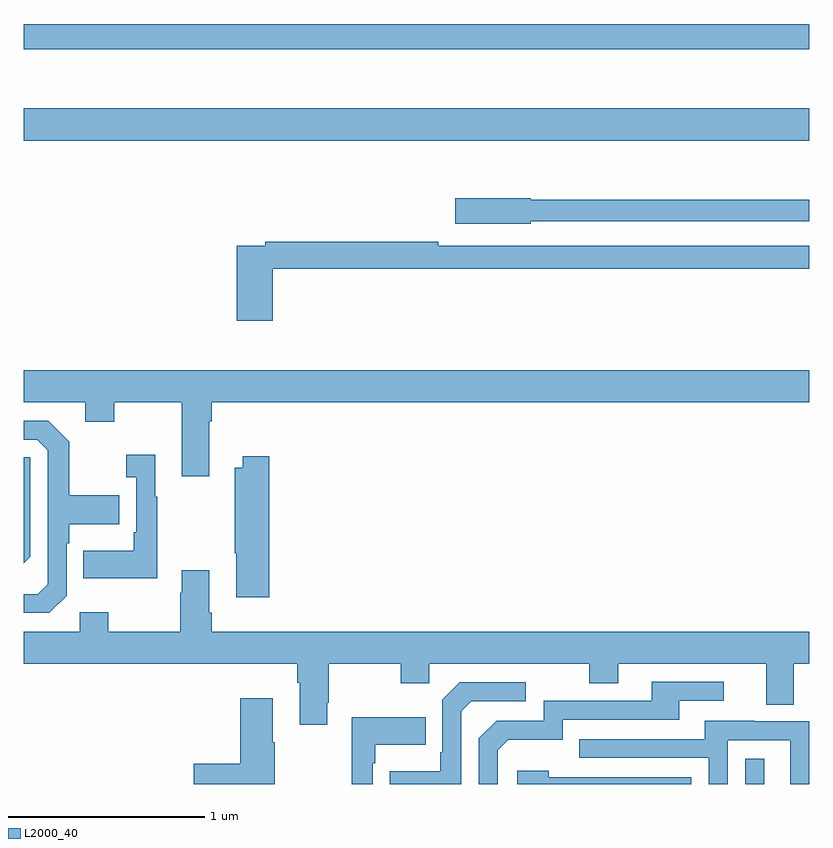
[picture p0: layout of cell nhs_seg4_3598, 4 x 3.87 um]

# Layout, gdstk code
import gdstk
lib = gdstk.Library(unit=1e-6, precision=1e-09)
def R(c, l, rs):  # rectangles x0, y0, x1, y1
    for r in rs: c.add(gdstk.rectangle(r[:2], r[2:], *l))
def P(c, l, *ps):  # polygons
    for p in ps: c.add(gdstk.Polygon(p, *l))
L2000_40 = (2000, 40)

nhs_seg4_3598 = lib.new_cell('nhs_seg4_3598')
R(nhs_seg4_3598, L2000_40, [(304.674,770.9,304.771,771.028), (301,774.176,305,774.34), (301,774.642,305,774.77)])
P(nhs_seg4_3598, L2000_40, [(303.582,773.766),(305,773.766),(305,773.875),(303.582,773.875),(303.582,773.883),(303.198,773.883),(303.198,773.753),(303.582,773.753)],
  [(302.267,773.524),(305,773.524),(305,773.64),(303.11,773.64),(303.11,773.66),(302.23,773.66),(302.23,773.64),(302.084,773.64),(302.084,773.259),(302.267,773.259)],
  [(301.945,772.748),(301.958,772.748),(301.958,772.844),(305,772.844),(305,773.008),(301,773.008),(301,772.844),(301.313,772.844),(301.313,772.745),(301.461,772.745),(301.461,772.844),(301.805,772.844),(301.805,772.467),(301.945,772.467)],
  [(301.218,771.858),(301.218,772.127),(301.231,772.127),(301.231,772.223),(301.487,772.223),(301.487,772.371),(301.231,772.371),(301.231,772.643),(301.125,772.749),(301,772.749),(301,772.653),(301.068,772.653),(301.122,772.599),(301.122,771.918),(301.071,771.867),(301,771.867),(301,771.771),(301.131,771.771)],
  [(301.681,772.363),(301.669,772.363),(301.669,772.576),(301.521,772.576),(301.521,772.463),(301.572,772.463),(301.572,772.183),(301.56,772.183),(301.56,772.087),(301.303,772.087),(301.303,771.947),(301.681,771.947)],
  [(302.249,772.57),(302.114,772.57),(302.114,772.51),(302.074,772.51),(302.074,772.075),(302.081,772.075),(302.081,771.852),(302.249,771.852)],
  [(301.032,772.056),(301.032,772.563),(301,772.563),(301,772.024)],
  [(302.545,771.313),(302.553,771.313),(302.553,771.512),(302.92,771.512),(302.92,771.413),(303.066,771.413),(303.066,771.512),(303.88,771.512),(303.88,771.413),(304.027,771.413),(304.027,771.512),(304.781,771.512),(304.781,771.304),(304.921,771.304),(304.921,771.512),(305,771.512),(305,771.676),(301.958,771.676),(301.958,771.772),(301.945,771.772),(301.945,771.988),(301.805,771.988),(301.805,771.875),(301.798,771.875),(301.798,771.676),(301.431,771.676),(301.431,771.775),(301.284,771.775),(301.284,771.676),(301,771.676),(301,771.512),(302.393,771.512),(302.393,771.416),(302.405,771.416),(302.405,771.201),(302.545,771.201)],
  [(303.414,771.072),(303.467,771.125),(303.744,771.125),(303.744,771.228),(304.339,771.228),(304.339,771.324),(304.564,771.324),(304.564,771.42),(304.199,771.42),(304.199,771.324),(303.648,771.324),(303.648,771.222),(303.408,771.222),(303.318,771.132),(303.318,770.9),(303.414,770.9)],
  [(303.228,771.27),(303.279,771.321),(303.556,771.321),(303.556,771.417),(303.219,771.417),(303.132,771.33),(303.132,771.061),(303.12,771.061),(303.12,770.965),(302.863,770.965),(302.863,770.9),(303.228,770.9)],
  [(302.277,771.113),(302.269,771.113),(302.269,771.337),(302.102,771.337),(302.102,771.002),(301.866,771.002),(301.866,770.9),(302.277,770.9)],
  [(302.778,771.005),(302.791,771.005),(302.791,771.101),(303.047,771.101),(303.047,771.241),(302.67,771.241),(302.67,770.9),(302.778,770.9)],
  [(304.584,771.123),(304.902,771.123),(304.902,770.9),(305,770.9),(305,771.219),(304.723,771.219),(304.723,771.223),(304.469,771.223),(304.469,771.129),(303.829,771.129),(303.829,771.033),(304.488,771.033),(304.488,770.9),(304.584,770.9)],
  [(304.398,770.934),(303.674,770.934),(303.674,770.968),(303.513,770.968),(303.513,770.9),(304.398,770.9)])

lib.write_gds('nhs_seg4_3598.gds')
